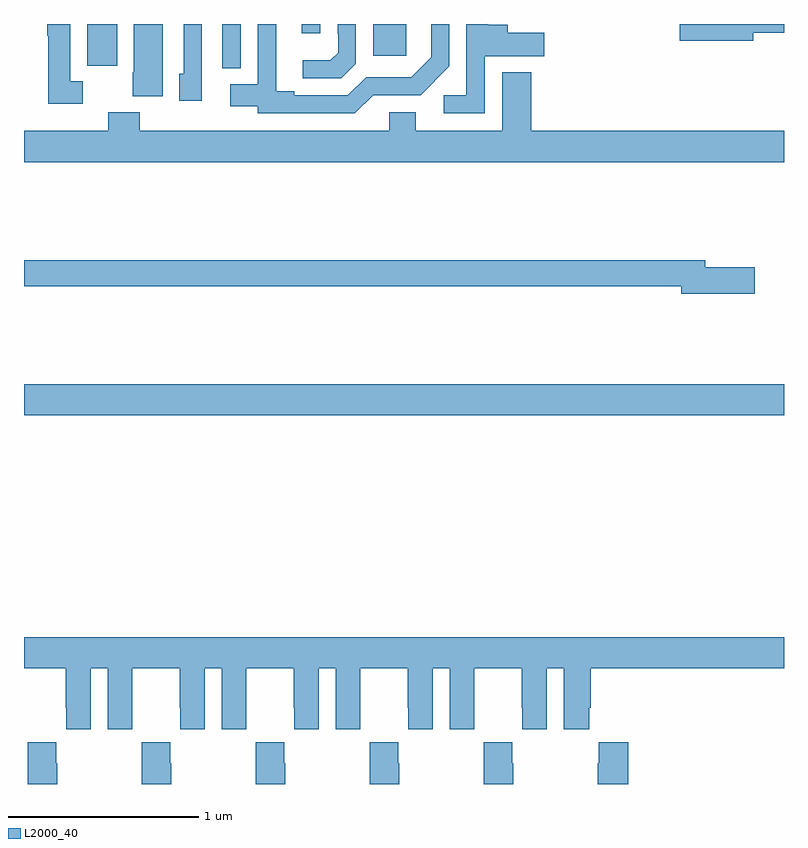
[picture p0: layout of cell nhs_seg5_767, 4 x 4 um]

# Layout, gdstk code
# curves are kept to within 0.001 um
import gdstk
lib = gdstk.Library(unit=1e-6, precision=1e-09)
def R(c, l, rs):  # rectangles x0, y0, x1, y1
    for r in rs: c.add(gdstk.rectangle(r[:2], r[2:], *l))
def P(c, l, *ps):  # polygons
    for p in ps: c.add(gdstk.Polygon(p, *l))
L2000_40 = (2000, 40)

nhs_seg5_767 = lib.new_cell('nhs_seg5_767')
R(nhs_seg5_767, L2000_40, [(159,876.74,163,876.904), (160.044,878.567,160.14,878.799), (159.332,878.58,159.49,878.799), (160.838,878.631,161.011,878.799), (160.463,878.751,160.56,878.799)])
P(nhs_seg5_767, L2000_40, [(162.838,878.752),(163,878.752),(163,878.799),(162.45,878.799),(162.45,878.71),(162.838,878.71)],
  [(159.73,878.799),(159.578,878.799),(159.578,878.544),(159.572,878.544),(159.572,878.42),(159.73,878.42)],
  [(160.746,878.589),(160.746,878.799),(160.65,878.799),(160.65,878.749),(160.653,878.749),(160.653,878.649),(160.613,878.609),(160.467,878.609),(160.467,878.514),(160.671,878.514)],
  [(160.837,878.424),(161.088,878.424),(161.238,878.576),(161.238,878.799),(161.144,878.799),(161.144,878.624),(161.038,878.518),(160.936,878.518),(160.936,878.52),(160.8,878.52),(160.704,878.424),(160.423,878.424),(160.423,878.444),(160.327,878.444),(160.327,878.799),(160.23,878.799),(160.23,878.482),(160.086,878.482),(160.086,878.366),(160.23,878.366),(160.23,878.328),(160.741,878.328)],
  [(159.31,878.499),(159.243,878.499),(159.243,878.799),(159.123,878.799),(159.123,878.736),(159.127,878.736),(159.127,878.379),(159.31,878.379)],
  [(161.424,878.63),(161.737,878.63),(161.737,878.752),(161.545,878.752),(161.545,878.794),(161.444,878.794),(161.444,878.799),(161.328,878.799),(161.328,878.424),(161.208,878.424),(161.208,878.328),(161.424,878.328)],
  [(159.936,878.799),(159.84,878.799),(159.84,878.538),(159.818,878.538),(159.818,878.394),(159.936,878.394)],
  [(163,878.236),(161.669,878.236),(161.669,878.545),(161.516,878.545),(161.516,878.236),(161.062,878.236),(161.062,878.335),(160.922,878.335),(160.922,878.236),(159.608,878.236),(159.608,878.335),(159.443,878.335),(159.443,878.236),(159,878.236),(159,878.072),(163,878.072)],
  [(162.847,877.52),(162.586,877.52),(162.586,877.556),(159,877.556),(159,877.42),(162.458,877.42),(162.458,877.378),(162.847,877.378)],
  [(159,875.408),(159.221,875.408),(159.221,875.2),(159.222,875.2),(159.222,875.088),(159.352,875.088),(159.352,875.408),(159.44,875.408),(159.44,875.088),(159.57,875.088),(159.57,875.2),(159.571,875.2),(159.571,875.408),(159.821,875.408),(159.821,875.2),(159.822,875.2),(159.822,875.088),(159.952,875.088),(159.952,875.408),(160.04,875.408),(160.04,875.088),(160.17,875.088),(160.17,875.2),(160.171,875.2),(160.171,875.408),(160.421,875.408),(160.421,875.2),(160.422,875.2),(160.422,875.088),(160.552,875.088),(160.552,875.408),(160.64,875.408),(160.64,875.088),(160.77,875.088),(160.77,875.2),(160.771,875.2),(160.771,875.408),(161.021,875.408),(161.021,875.2),(161.022,875.2),(161.022,875.088),(161.152,875.088),(161.152,875.408),(161.24,875.408),(161.24,875.088),(161.37,875.088),(161.37,875.2),(161.371,875.2),(161.371,875.408),(161.621,875.408),(161.621,875.2),(161.622,875.2),(161.622,875.088),(161.752,875.088),(161.752,875.408),(161.84,875.408),(161.84,875.088),(161.974,875.088),(161.974,875.2),(161.984,875.2),(161.984,875.408),(163,875.408),(163,875.572),(159,875.572)],
  [(159.174,874.907),(159.171,874.907),(159.171,875.02),(159.021,875.02),(159.021,874.907),(159.019,874.907),(159.019,874.799),(159.174,874.799)],
  [(159.774,874.907),(159.771,874.907),(159.771,875.02),(159.621,875.02),(159.621,874.907),(159.619,874.907),(159.619,874.799),(159.774,874.799)],
  [(160.374,874.907),(160.371,874.907),(160.371,875.02),(160.221,875.02),(160.221,874.907),(160.219,874.907),(160.219,874.799),(160.374,874.799)],
  [(160.974,874.907),(160.971,874.907),(160.971,875.02),(160.821,875.02),(160.821,874.907),(160.819,874.907),(160.819,874.799),(160.974,874.799)],
  [(161.574,874.907),(161.571,874.907),(161.571,875.02),(161.421,875.02),(161.421,874.907),(161.419,874.907),(161.419,874.799),(161.574,874.799)],
  [(162.179,875.02),(162.025,875.02),(162.025,874.907),(162.019,874.907),(162.019,874.799),(162.179,874.799)])

lib.write_gds('nhs_seg5_767.gds')
